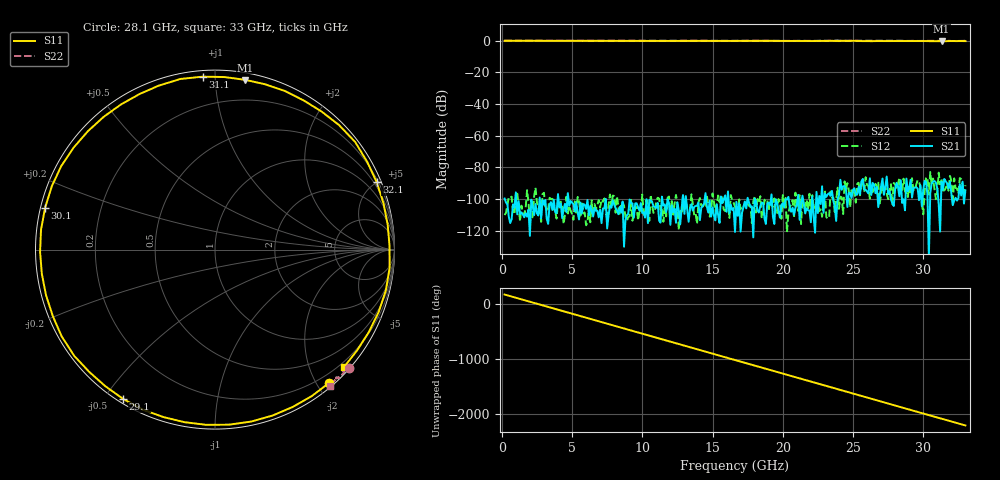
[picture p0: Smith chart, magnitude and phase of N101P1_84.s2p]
# GHZ S RI R 50
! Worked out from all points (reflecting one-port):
!   329 points, 200 MHz to 33 GHz, reference 50 ohm
!   lowest |S11| = -0.3 dB at 31.3 GHz (marker M1), VSWR 49.82, Z = 2.43 + j59.7 ohm
!   phase of S11 starts at 165 deg and turns -2368 deg over the sweep
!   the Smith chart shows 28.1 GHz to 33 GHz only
!   S11 on the Smith chart (normalised r, x): 28.1 GHz: 0.06, -2.17; 29.1 GHz: 0.02, -0.56; 30.1 GHz: 0.01, +0.12; 31.1 GHz: 0.03, +0.93; 32.1 GHz: 0.31, +4.96; 33 GHz: 0.11, -2.58
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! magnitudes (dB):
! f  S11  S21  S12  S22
! 200 MHz  0.0  -99.7  -110.2  0.0
! 5.7 GHz  -0.1  -109.1  -101.5  0.0
! 11.2 GHz  -0.2  -113.7  -99.8  0.0
! 16.6 GHz  -0.1  -120.9  -104.9  -0.1
! 19.4 GHz  -0.1  -115.8  -99.7  -0.1
! 22.1 GHz  -0.2  -98.2  -97.6  -0.1
! 23.4 GHz  0.0  -98.0  -95.3  0.0
! 23.6 GHz  -0.2  -101.1  -99.1  0.0
! 23.9 GHz  -0.2  -100.1  -92.9  0.2
! 24.1 GHz  -0.2  -87.9  -98.5  0.0
! 24.7 GHz  -0.2  -96.2  -94.8  0.0
! 25 GHz  0.0  -94.3  -95.2  0.0
! 25.6 GHz  -0.2  -88.9  -89.8  0.0
! 27.6 GHz  -0.2  -95.1  -94.9  0.0
! 28.1 GHz  -0.2  -89.8  -93.6  0.0
! 29.1 GHz  -0.2  -87.9  -97.1  -0.1
! 30.1 GHz  -0.2  -88.6  -95.1  0.0
! 31.1 GHz  -0.3  -103.1  -83.4  -0.2
! 31.3 GHz  -0.3  -89.1  -87.1  -0.1
! 31.9 GHz  -0.1  -89.1  -85.4  -0.1
! 32.1 GHz  -0.2  -103.9  -103.3  -0.2
! 33 GHz  -0.2  -94.6  -91.4  0.0
